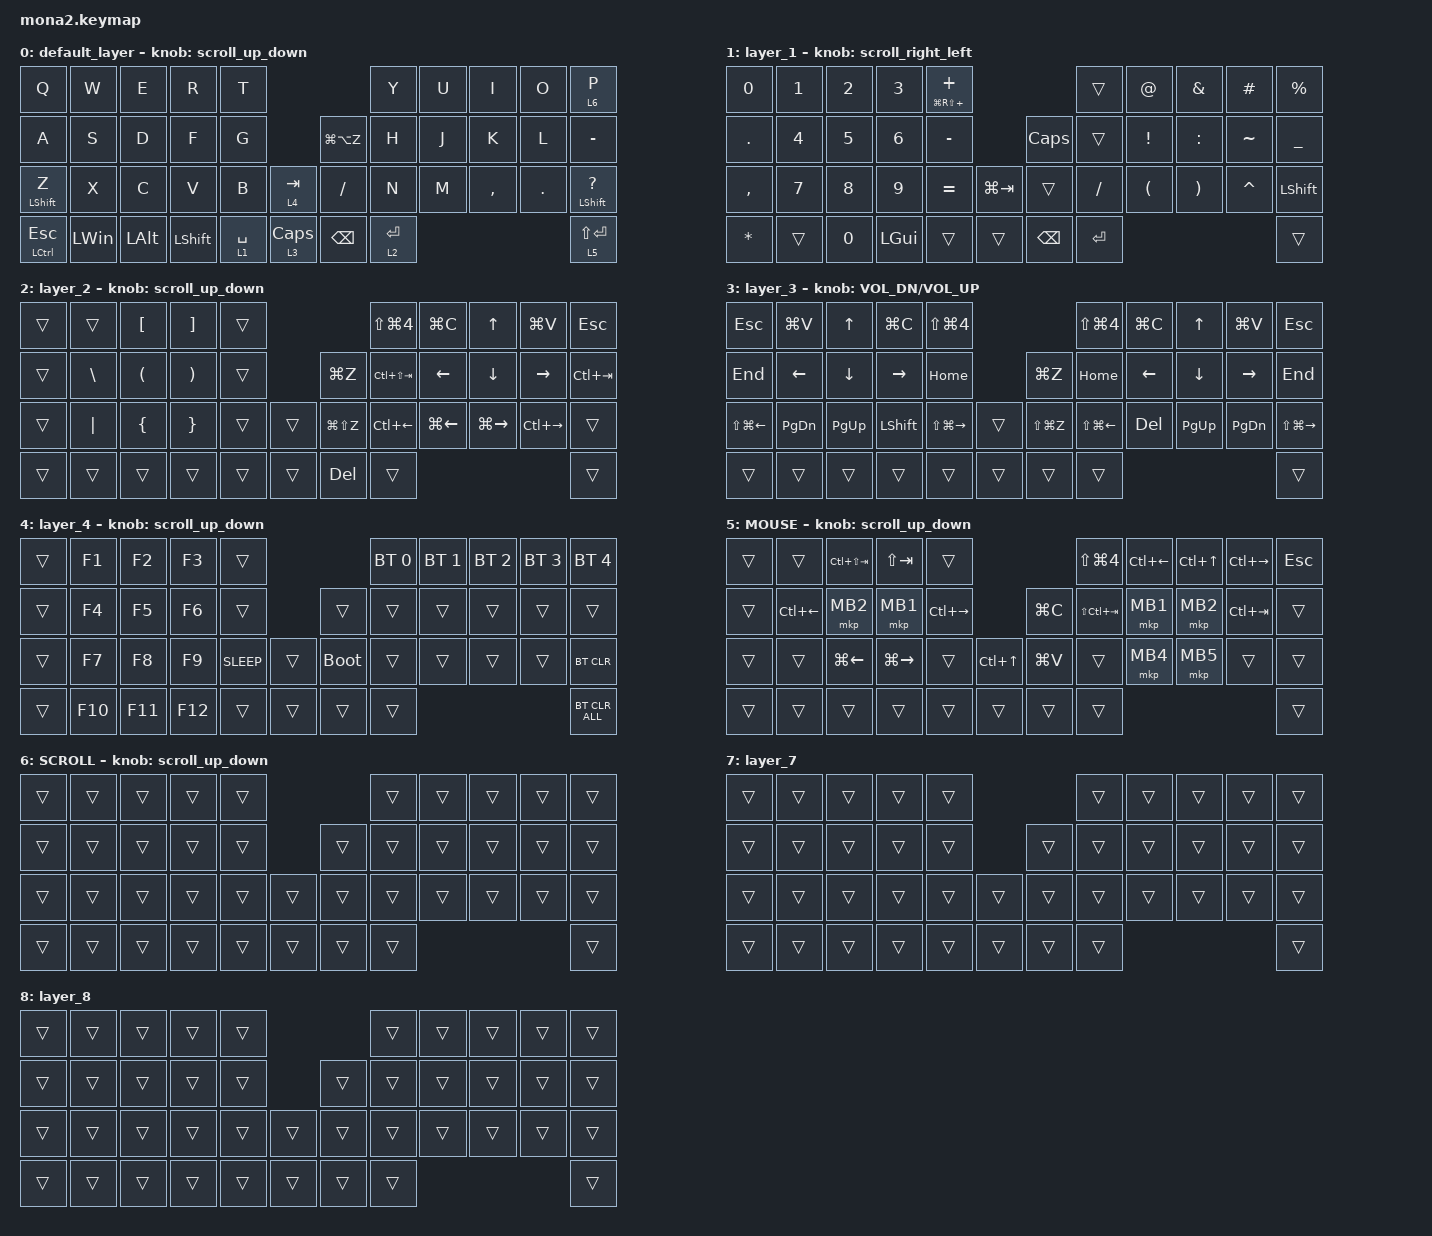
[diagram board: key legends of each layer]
#include <input/processors.dtsi>
#include <dt-bindings/zmk/input_transform.h>
#include <zephyr/dt-bindings/input/input-event-codes.h>
#include <behaviors.dtsi>
#include <dt-bindings/zmk/bt.h>
#include <dt-bindings/zmk/keys.h>
#include <dt-bindings/zmk/pointing.h>

#define ZMK_POINTING_DEFAULT_SCRL_VAL 100
#define MOUSE 5
#define SCROLL 6

&mt {
    flavor = "balanced";
    quick-tap-ms = <0>;
};

&lt {
    quick-tap-ms = <300>;
    flavor = "balanced";
};

/ {
    combos {
        compatible = "zmk,combos";

        layer4_ESC {
            bindings = <&lt 4 ESC>;
            key-positions = <39 38>;
        };

        tab {
            bindings = <&kp TAB>;
            key-positions = <11 12>;
        };

        z {
            bindings = <&none>;
            key-positions = <17 18 19 29 30 16 6 7 8 5 9 15 27>;
        };
    };

    macros {
        to_layer_0: to_layer_0 {
            compatible = "zmk,behavior-macro-one-param";
            #binding-cells = <1>;
            bindings = <&to 0 &macro_param_1to1 &kp MACRO_PLACEHOLDER>;
            label = "TO_LAYER_0";
        };
    };

    behaviors {
        lt_to_layer_0: lt_to_layer_0 {
            compatible = "zmk,behavior-hold-tap";
            label = "LAYER_TAP_TO_0";
            bindings = <&mo>, <&to_layer_0>;

            #binding-cells = <2>;
            tapping-term-ms = <200>;
        };

        scroll_up_down: mouse_wheel_up_down {
            compatible = "zmk,behavior-sensor-rotate";
            #sensor-binding-cells = <0>;
            bindings = <&msc SCRL_DOWN>, <&msc SCRL_UP>;

            tap-ms = <20>;
        };

        scroll_right_left: mouse_wheel_right_left {
            compatible = "zmk,behavior-sensor-rotate";
            #sensor-binding-cells = <0>;
            bindings = <&msc SCRL_LEFT>, <&msc SCRL_RIGHT>;

            tap-ms = <20>;
        };
    };

    keymap {
        compatible = "zmk,keymap";

        default_layer {
            bindings = <
&kp Q             &kp W         &kp E         &kp R       &kp T                                                &kp Y        &kp U  &kp I      &kp O    &lt 6 P
&kp A             &kp S         &kp D         &kp F       &kp G                                 &kp LG(LA(Z))  &kp H        &kp J  &kp K      &kp L    &kp MINUS
&mt LEFT_SHIFT Z  &kp X         &kp C         &kp V       &kp B        &lt 4 TAB                &kp SLASH      &kp N        &kp M  &kp COMMA  &kp DOT  &mt LEFT_SHIFT QUESTION
&mt LCTRL ESC     &kp LEFT_WIN  &kp LEFT_ALT  &kp LSHIFT  &lt 1 SPACE  &lt_to_layer_0 3 CAPS    &kp BACKSPACE  &lt 2 ENTER                             &lt 5 LS(ENTER)
            >;

            sensor-bindings = <&scroll_up_down>;
        };

        layer_1 {
            bindings = <
&kp NUMBER_0  &kp NUMBER_1  &kp NUMBER_2  &kp NUMBER_3  &mt LG(RS(PLUS)) PLUS                                &trans     &kp AT                &kp AMPERSAND          &kp HASH   &kp PERCENT
&kp PERIOD    &kp NUMBER_4  &kp NUMBER_5  &kp NUMBER_6  &kp MINUS                             &kp CAPS       &trans     &kp EXCLAMATION       &kp COLON              &kp TILDE  &kp UNDERSCORE
&kp COMMA     &kp NUMBER_7  &kp NUMBER_8  &kp NUMBER_9  &kp EQUAL              &kp LG(TAB)    &trans         &kp SLASH  &kp LEFT_PARENTHESIS  &kp RIGHT_PARENTHESIS  &kp CARET  &kp LEFT_SHIFT
&kp ASTERISK  &trans        &kp NUMBER_0  &kp LEFT_GUI  &trans                 &trans         &kp BACKSPACE  &kp ENTER                                                          &trans
            >;

            sensor-bindings = <&scroll_right_left>;
        };

        layer_2 {
            bindings = <
&trans  &trans         &kp LEFT_BRACKET      &kp RIGHT_BRACKET      &trans                           &kp LS(LG(NUMBER_4))  &kp LG(C)           &kp UP               &kp LG(V)      &kp ESC
&trans  &kp BACKSLASH  &kp LEFT_PARENTHESIS  &kp RIGHT_PARENTHESIS  &trans            &kp LG(Z)      &kp LC(LS(TAB))       &kp LEFT            &kp DOWN             &kp RIGHT      &kp LC(TAB)
&trans  &kp PIPE       &kp LEFT_BRACE        &kp RIGHT_BRACE        &trans  &trans    &kp LG(LS(Z))  &kp LC(LEFT)          &kp LG(LEFT_ARROW)  &kp LG(RIGHT_ARROW)  &kp LC(RIGHT)  &trans
&trans  &trans         &trans                &trans                 &trans  &trans    &kp DEL        &trans                                                                        &trans
            >;

            sensor-bindings = <&scroll_up_down>;
        };

        layer_3 {
            bindings = <
&kp ESC                 &kp LG(V)       &kp UP_ARROW    &kp LG(C)        &kp LS(LG(NUMBER_4))                              &kp LS(LG(NUMBER_4))    &kp LG(C)       &kp UP_ARROW    &kp LG(V)        &kp ESC
&kp END                 &kp LEFT_ARROW  &kp DOWN_ARROW  &kp RIGHT_ARROW  &kp HOME                           &kp LG(Z)      &kp HOME                &kp LEFT_ARROW  &kp DOWN_ARROW  &kp RIGHT_ARROW  &kp END
&kp LS(LG(LEFT_ARROW))  &kp PAGE_DOWN   &kp PAGE_UP     &kp LEFT_SHIFT   &kp LS(LG(RIGHT_ARROW))  &trans    &kp LS(LG(Z))  &kp LS(LG(LEFT_ARROW))  &kp DELETE      &kp PAGE_UP     &kp PAGE_DOWN    &kp LS(LG(RIGHT_ARROW))
&trans                  &trans          &trans          &trans           &trans                   &trans    &trans         &trans                                                                   &trans
            >;

            sensor-bindings = <&inc_dec_kp C_VOL_DN C_VOL_UP>;
        };

        layer_4 {
            bindings = <
&trans  &kp F1   &kp F2   &kp F3   &trans                              &bt BT_SEL 0  &bt BT_SEL 1  &bt BT_SEL 2  &bt BT_SEL 3  &bt BT_SEL 4
&trans  &kp F4   &kp F5   &kp F6   &trans                 &trans       &trans        &trans        &trans        &trans        &trans
&trans  &kp F7   &kp F8   &kp F9   &kp C_SLEEP  &trans    &bootloader  &trans        &trans        &trans        &trans        &bt BT_CLR
&trans  &kp F10  &kp F11  &kp F12  &trans       &trans    &trans       &trans                                                  &bt BT_CLR_ALL
            >;

            sensor-bindings = <&scroll_up_down>;
        };

        MOUSE {
            bindings = <
&trans  &trans        &kp LC(LS(TAB))  &kp LS(TAB)    &trans                                  &kp LS(LG(NUMBER_4))  &kp LC(LEFT)  &kp LC(UP)  &kp LC(RIGHT)  &kp ESC
&trans  &kp LC(LEFT)  &mkp MB2         &mkp MB1       &kp LC(RIGHT)                &kp LG(C)  &kp LS(LC(TAB))       &mkp MB1      &mkp MB2    &kp LC(TAB)    &trans
&trans  &trans        &kp LG(LEFT)     &kp LG(RIGHT)  &trans         &kp LC(UP)    &kp LG(V)  &trans                &mkp MB4      &mkp MB5    &trans         &trans
&trans  &trans        &trans           &trans         &trans         &trans        &trans     &trans                                                         &trans
            >;

            sensor-bindings = <&scroll_up_down>;
        };

        SCROLL {
            bindings = <
&trans  &trans  &trans  &trans  &trans                    &trans  &trans  &trans  &trans  &trans
&trans  &trans  &trans  &trans  &trans            &trans  &trans  &trans  &trans  &trans  &trans
&trans  &trans  &trans  &trans  &trans  &trans    &trans  &trans  &trans  &trans  &trans  &trans
&trans  &trans  &trans  &trans  &trans  &trans    &trans  &trans                          &trans
            >;

            sensor-bindings = <&scroll_up_down>;
        };

        layer_7 {
            bindings = <
&trans  &trans  &trans  &trans  &trans                    &trans  &trans  &trans  &trans  &trans
&trans  &trans  &trans  &trans  &trans            &trans  &trans  &trans  &trans  &trans  &trans
&trans  &trans  &trans  &trans  &trans  &trans    &trans  &trans  &trans  &trans  &trans  &trans
&trans  &trans  &trans  &trans  &trans  &trans    &trans  &trans                          &trans
            >;
        };

        layer_8 {
            bindings = <
&trans  &trans  &trans  &trans  &trans                    &trans  &trans  &trans  &trans  &trans
&trans  &trans  &trans  &trans  &trans            &trans  &trans  &trans  &trans  &trans  &trans
&trans  &trans  &trans  &trans  &trans  &trans    &trans  &trans  &trans  &trans  &trans  &trans
&trans  &trans  &trans  &trans  &trans  &trans    &trans  &trans                          &trans
            >;
        };
    };
};
